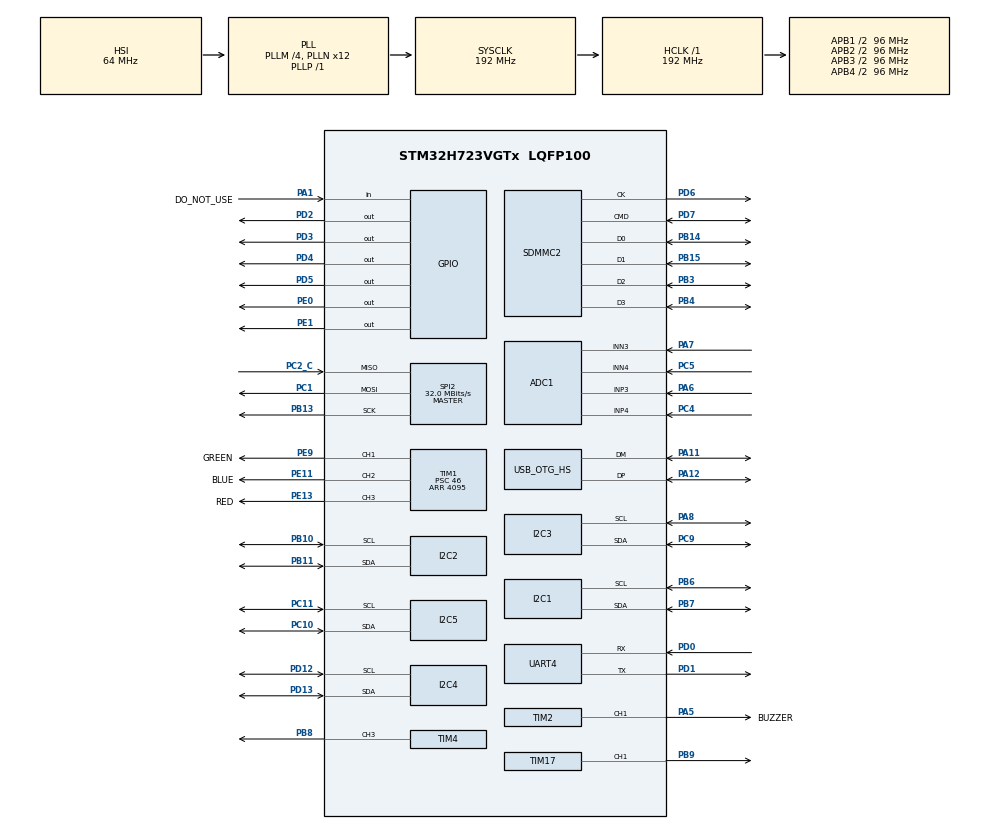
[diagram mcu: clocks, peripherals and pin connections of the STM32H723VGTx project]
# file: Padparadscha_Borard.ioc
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ADC1.Channel-0\#ChannelRegularConversion=ADC_CHANNEL_3
ADC1.NbrOfConversionFlag=1
ADC1.OffsetNumber-0\#ChannelRegularConversion=ADC_OFFSET_NONE
ADC1.OffsetSignedSaturation-0\#ChannelRegularConversion=DISABLE
ADC1.Rank-0\#ChannelRegularConversion=1
ADC1.SamplingTime-0\#ChannelRegularConversion=ADC_SAMPLETIME_1CYCLE_5
ADC1.SingleDiff-0\#ChannelRegularConversion=ADC_DIFFERENTIAL_ENDED
ADC1.master=1
FATFS.BSP.number=1
FATFS0.BSP.STBoard=false
FATFS0.BSP.api=Unknown
FATFS0.BSP.instance=PA1
FATFS0.BSP.ip=GPIO
FATFS0.BSP.mode=Input
FATFS0.BSP.name=Detect_SDIO
FATFS0.BSP.solution=PA1
I2C1.Timing=0x10B0DCFB
I2C2.Timing=0x10B0DCFB
I2C3.Timing=0x10B0DCFB
I2C4.Timing=0x10B0DCFB
I2C5.Timing=0x10B0DCFB
Mcu.Family=STM32H7
Mcu.Name=STM32H723VGTx
Mcu.Package=LQFP100
NVIC.OTG_HS_IRQn=true\:0\:0\:false\:false\:true\:false\:true\:true
NVIC.PriorityGroup=NVIC_PRIORITYGROUP_4
PA1.GPIO_Label=DO_NOT_USE
PA1.GPIO_PuPd=GPIO_PULLUP
PA1.Signal=GPIO_Input
PA11.Mode=Device_Only_FS
PA11.Signal=USB_OTG_HS_DM
PA12.Mode=Device_Only_FS
PA12.Signal=USB_OTG_HS_DP
PA13(JTMS/SWDIO).Mode=Serial_Wire
PA13(JTMS/SWDIO).Signal=DEBUG_JTMS-SWDIO
PA14(JTCK/SWCLK).Mode=Serial_Wire
PA14(JTCK/SWCLK).Signal=DEBUG_JTCK-SWCLK
PA5.GPIO_Label=BUZZER
PA5.Signal=S_TIM2_CH1_ETR
PA6.Signal=ADCx_INP3
PA7.Signal=ADCx_INN3
PA8.Mode=I2C
PA8.Signal=I2C3_SCL
PB10.Mode=I2C
PB10.Signal=I2C2_SCL
PB11.Mode=I2C
PB11.Signal=I2C2_SDA
PB13.Mode=Full_Duplex_Master
PB13.Signal=SPI2_SCK
PB14.Mode=SD_4_bits_Wide_bus
PB14.Signal=SDMMC2_D0
PB15.Mode=SD_4_bits_Wide_bus
PB15.Signal=SDMMC2_D1
PB3(JTDO/TRACESWO).Mode=SD_4_bits_Wide_bus
PB3(JTDO/TRACESWO).Signal=SDMMC2_D2
PB4(NJTRST).Mode=SD_4_bits_Wide_bus
PB4(NJTRST).Signal=SDMMC2_D3
PB6.Mode=I2C
PB6.Signal=I2C1_SCL
PB7.Mode=I2C
PB7.Signal=I2C1_SDA
PB8.Signal=S_TIM4_CH3
PB9.Signal=S_TIM17_CH1
PC1.Mode=Full_Duplex_Master
PC1.Signal=SPI2_MOSI
PC10.Mode=I2C
PC10.Signal=I2C5_SDA
PC11.Mode=I2C
PC11.Signal=I2C5_SCL
PC2_C.Mode=Full_Duplex_Master
PC2_C.Signal=SPI2_MISO
PC4.Signal=ADCx_INP4
PC5.Signal=ADCx_INN4
PC9.Mode=I2C
PC9.Signal=I2C3_SDA
PD0.Mode=Asynchronous
PD0.Signal=UART4_RX
PD1.Mode=Asynchronous
PD1.Signal=UART4_TX
PD12.Mode=I2C
PD12.Signal=I2C4_SCL
PD13.Mode=I2C
PD13.Signal=I2C4_SDA
PD2.Signal=GPIO_Output
PD3.Signal=GPIO_Output
PD4.Signal=GPIO_Output
PD5.Signal=GPIO_Output
PD6.Mode=SD_4_bits_Wide_bus
PD6.Signal=SDMMC2_CK
PD7.Mode=SD_4_bits_Wide_bus
PD7.Signal=SDMMC2_CMD
PE0.Signal=GPIO_Output
PE1.Signal=GPIO_Output
PE11.GPIO_Label=BLUE
PE11.Signal=S_TIM1_CH2
PE13.GPIO_Label=RED
PE13.Signal=S_TIM1_CH3
PE9.GPIO_Label=GREEN
PE9.Signal=S_TIM1_CH1
ProjectManager.HeapSize=0x200
ProjectManager.StackSize=0x400
ProjectManager.TargetToolchain=STM32CubeIDE
RCC.ADCFreq_Value=48000000
RCC.APB1Freq_Value=96000000
RCC.APB2Freq_Value=96000000
RCC.APB3Freq_Value=96000000
RCC.APB4Freq_Value=96000000
RCC.CortexFreq_Value=192000000
RCC.D1PPRE=RCC_APB3_DIV2
RCC.D2PPRE1=RCC_APB1_DIV2
RCC.D2PPRE2=RCC_APB2_DIV2
RCC.D3PPRE=RCC_APB4_DIV2
RCC.DIVM1=4
RCC.DIVM2=4
RCC.DIVN1=12
RCC.DIVN2=12
RCC.DIVP1=1
RCC.DIVP2=4
RCC.DIVQ1=4
RCC.DIVQ2=3
RCC.HCLKFreq_Value=192000000
RCC.PLL2FRACN=0
RCC.PLL2_VCO_SEL-AdvancedSettings=RCC_PLL2VCOMEDIUM
RCC.PLL3FRACN=0
RCC.PLL3_VCI_Range-AdvancedSettings=RCC_PLL3VCIRANGE_0
RCC.PLLFRACN=0
RCC.SPI123CLockSelection=RCC_SPI123CLKSOURCE_CLKP
RCC.SYSCLKFreq_VALUE=192000000
RCC.SYSCLKSource=RCC_SYSCLKSOURCE_PLLCLK
RCC.USART234578CLockSelection=RCC_USART234578CLKSOURCE_PLL2
RCC.USBCLockSelection=RCC_USBCLKSOURCE_HSI48
RCC.USBFreq_Value=48000000
SDMMC2.ClockDiv=4
SH.ADCx_INN3.0=ADC1_INN3,IN3-Differential
SH.ADCx_INN4.0=ADC1_INN4,IN4-Differential
SH.ADCx_INP3.0=ADC1_INP3,IN3-Differential
SH.ADCx_INP4.0=ADC1_INP4,IN4-Differential
SH.S_TIM17_CH1.0=TIM17_CH1,PWM Generation1 CH1
SH.S_TIM1_CH1.0=TIM1_CH1,PWM Generation1 CH1
SH.S_TIM1_CH2.0=TIM1_CH2,PWM Generation2 CH2
SH.S_TIM1_CH3.0=TIM1_CH3,PWM Generation3 CH3
SH.S_TIM2_CH1_ETR.0=TIM2_CH1,PWM Generation1 CH1
SH.S_TIM4_CH3.0=TIM4_CH3,PWM Generation3 CH3
SPI2.CalculateBaudRate=32.0 MBits/s
SPI2.Direction=SPI_DIRECTION_2LINES
SPI2.Mode=SPI_MODE_MASTER
SPI2.VirtualType=VM_MASTER
TIM1.AutoReloadPreload=TIM_AUTORELOAD_PRELOAD_ENABLE
TIM1.Channel-PWM\ Generation1\ CH1=TIM_CHANNEL_1
TIM1.Channel-PWM\ Generation2\ CH2=TIM_CHANNEL_2
TIM1.Channel-PWM\ Generation3\ CH3=TIM_CHANNEL_3
TIM1.Period=4095
TIM1.Prescaler=46
TIM17.Channel=TIM_CHANNEL_1
TIM2.Channel-PWM\ Generation1\ CH1=TIM_CHANNEL_1
TIM2.Period=1110
TIM2.Prescaler=63
TIM2.Pulse-PWM\ Generation1\ CH1=555
TIM4.Channel-PWM\ Generation3\ CH3=TIM_CHANNEL_3
USB_DEVICE.CLASS_NAME_HS=MSC
USB_DEVICE.VirtualMode=Msc
USB_DEVICE.VirtualModeHS=Msc_HS
USB_OTG_HS.VirtualMode-Device_Only_FS=Device_Only_FS
VP_FATFS_VS_SDIO.Mode=SDIO
VP_MEMORYMAP_VS_MEMORYMAP.Mode=CurAppReg
VP_TIM17_VS_ClockSourceINT.Mode=Enable_Timer
VP_USB_DEVICE_VS_USB_DEVICE_MSC_HS.Mode=MSC_HS
board=custom

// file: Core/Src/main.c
/* USER CODE BEGIN Header */
/**
  ******************************************************************************
  * @file           : main.c
  * @brief          : Main program body
  ******************************************************************************
  * @attention
  *
  * Copyright (c) 2026 STMicroelectronics.
  * All rights reserved.
  *
  * This software is licensed under terms that can be found in the LICENSE file
  * in the root directory of this software component.
  * If no LICENSE file comes with this software, it is provided AS-IS.
  *
  ******************************************************************************
  */
/* USER CODE END Header */
#include "main.h"
#include "fatfs.h"
#include "usb_device.h"

/* USER CODE BEGIN Includes */
#include <stdio.h>
#include <stdbool.h>
#include "configuration.h"
#include "debug_output.h"
#include "feedback.h"
#include "flight_logger.h"
#include "usbd_core.h"

extern bool USB_Mode;
extern USBD_HandleTypeDef hUsbDeviceHS;

/* USER CODE END Includes */

/* USER CODE BEGIN PTD */
typedef enum
{
  APP_MODE_USB = 0U,
  APP_MODE_LOGGING
} AppMode_t;

typedef enum
{
  APP_STATE_INIT = 0U,
  APP_STATE_READY,
  APP_STATE_ACQUIRE,
  APP_STATE_WARNING_STORAGE,
  APP_STATE_STOPPED,
  APP_STATE_ERROR
} AppState_t;

/* USER CODE END PTD */

/* USER CODE BEGIN PD */
#define USB_BOOT_ENUMERATION_TIMEOUT_MS 1000U
#define USB_BOOT_ENUMERATION_POLL_MS     10U

/* USER CODE END PD */

ADC_HandleTypeDef hadc1;

I2C_HandleTypeDef hi2c1;
I2C_HandleTypeDef hi2c2;
I2C_HandleTypeDef hi2c3;
I2C_HandleTypeDef hi2c4;
I2C_HandleTypeDef hi2c5;

SD_HandleTypeDef hsd2;

SPI_HandleTypeDef hspi2;

TIM_HandleTypeDef htim1;
TIM_HandleTypeDef htim2;
TIM_HandleTypeDef htim4;
TIM_HandleTypeDef htim17;

UART_HandleTypeDef huart4;

/* USER CODE BEGIN PV */
static bool usb_device_started = true;
static bool boot_usb_detected = false;
static AppMode_t app_mode = APP_MODE_USB;
static AppState_t app_state = APP_STATE_INIT;

/* USER CODE END PV */

void SystemClock_Config(void);
void PeriphCommonClock_Config(void);
static void MX_GPIO_Init(void);
static void MX_I2C1_Init(void);
static void MX_I2C2_Init(void);
static void MX_I2C4_Init(void);
static void MX_SDMMC2_SD_Init(void);
static void MX_I2C3_Init(void);
static void MX_TIM1_Init(void);
static void MX_TIM2_Init(void);
static void MX_ADC1_Init(void);
static void MX_I2C5_Init(void);
static void MX_SPI2_Init(void);
static void MX_TIM4_Init(void);
static void MX_TIM17_Init(void);
static void MX_UART4_Init(void);
/* USER CODE BEGIN PFP */
static void UpdateUsbModeState(void);
static bool IsUsbCableConnected(void);
static void UpdateAppStateFromLogger(void);

/* USER CODE END PFP */

int main(void)
{

  /* MCU Configuration--------------------------------------------------------*/

  /* Reset of all peripherals, Initializes the Flash interface and the Systick. */
  HAL_Init();

  /* Configure the system clock */
  SystemClock_Config();

  /* Configure the peripherals common clocks */
  PeriphCommonClock_Config();

  /* Initialize all configured peripherals */
  MX_GPIO_Init();
  MX_I2C1_Init();
  MX_I2C2_Init();
  MX_I2C4_Init();
  MX_SDMMC2_SD_Init();
  MX_I2C3_Init();
  MX_TIM1_Init();
  MX_TIM2_Init();
  MX_ADC1_Init();
  MX_I2C5_Init();
  MX_SPI2_Init();
  MX_TIM4_Init();
  MX_TIM17_Init();
  MX_UART4_Init();
  DebugOutput_Init();
  MX_FATFS_Init();
  MX_USB_DEVICE_Init();
  /* USER CODE BEGIN 2 */
  printf("[BOOT] System init complete. Debug interface=%s\r\n",
         (DEBUG_PRINT_INTERFACE == DEBUG_PRINT_INTERFACE_UART4) ? "UART4" : "SWV");
  HAL_Delay(LOGGER_USB_BOOT_SETTLE_DELAY_MS);
  boot_usb_detected = IsUsbCableConnected();
  UpdateUsbModeState();
  printf("[BOOT] USB detected at boot=%u\r\n", (unsigned int)boot_usb_detected);

  if (boot_usb_detected != false)
  {
    app_mode = APP_MODE_USB;
    app_state = APP_STATE_READY;
    printf("[BOOT] Entering USB mass-storage mode.\r\n");
  }
  else
  {
    app_mode = APP_MODE_LOGGING;
    printf("[BOOT] Entering flight logger mode.\r\n");
    if (FlightLogger_Init() != false)
    {
      UpdateAppStateFromLogger();
      printf("[BOOT] Flight logger initialized successfully.\r\n");
    }
    else
    {
      app_state = APP_STATE_ERROR;
      printf("[BOOT] Flight logger initialization failed.\r\n");
    }
  }

  /* USER CODE END 2 */

  /* Infinite loop */
  while (1)
  {

    /* USER CODE BEGIN 3 */
    if (app_mode == APP_MODE_LOGGING)
    {
      FlightLogger_RunOnce();
      UpdateAppStateFromLogger();
    }

    switch (app_state)
    {
      case APP_STATE_INIT:
      case APP_STATE_READY:
      case APP_STATE_ACQUIRE:
      case APP_STATE_WARNING_STORAGE:
      case APP_STATE_STOPPED:
      case APP_STATE_ERROR:
      default:
        break;
    }
  }
  /* USER CODE END 3 */
}

void SystemClock_Config(void)
{
  RCC_OscInitTypeDef RCC_OscInitStruct = {0};
  RCC_ClkInitTypeDef RCC_ClkInitStruct = {0};

  /** Supply configuration update enable
  */
  HAL_PWREx_ConfigSupply(PWR_LDO_SUPPLY);

  /** Configure the main internal regulator output voltage
  */
  __HAL_PWR_VOLTAGESCALING_CONFIG(PWR_REGULATOR_VOLTAGE_SCALE1);

  while(!__HAL_PWR_GET_FLAG(PWR_FLAG_VOSRDY)) {}

  /** Initializes the RCC Oscillators according to the specified parameters
  * in the RCC_OscInitTypeDef structure.
  */
  RCC_OscInitStruct.OscillatorType = RCC_OSCILLATORTYPE_HSI48|RCC_OSCILLATORTYPE_HSI;
  RCC_OscInitStruct.HSIState = RCC_HSI_DIV1;
  RCC_OscInitStruct.HSICalibrationValue = 64;
  RCC_OscInitStruct.HSI48State = RCC_HSI48_ON;
  RCC_OscInitStruct.PLL.PLLState = RCC_PLL_ON;
  RCC_OscInitStruct.PLL.PLLSource = RCC_PLLSOURCE_HSI;
  RCC_OscInitStruct.PLL.PLLM = 4;
  RCC_OscInitStruct.PLL.PLLN = 12;
  RCC_OscInitStruct.PLL.PLLP = 1;
  RCC_OscInitStruct.PLL.PLLQ = 4;
  RCC_OscInitStruct.PLL.PLLR = 2;
  RCC_OscInitStruct.PLL.PLLRGE = RCC_PLL1VCIRANGE_3;
  RCC_OscInitStruct.PLL.PLLVCOSEL = RCC_PLL1VCOWIDE;
  RCC_OscInitStruct.PLL.PLLFRACN = 0;
  if (HAL_RCC_OscConfig(&RCC_OscInitStruct) != HAL_OK)
  {
    Error_Handler();
  }

  /** Initializes the CPU, AHB and APB buses clocks
  */
  RCC_ClkInitStruct.ClockType = RCC_CLOCKTYPE_HCLK|RCC_CLOCKTYPE_SYSCLK
                              |RCC_CLOCKTYPE_PCLK1|RCC_CLOCKTYPE_PCLK2
                              |RCC_CLOCKTYPE_D3PCLK1|RCC_CLOCKTYPE_D1PCLK1;
  RCC_ClkInitStruct.SYSCLKSource = RCC_SYSCLKSOURCE_PLLCLK;
  RCC_ClkInitStruct.SYSCLKDivider = RCC_SYSCLK_DIV1;
  RCC_ClkInitStruct.AHBCLKDivider = RCC_HCLK_DIV1;
  RCC_ClkInitStruct.APB3CLKDivider = RCC_APB3_DIV2;
  RCC_ClkInitStruct.APB1CLKDivider = RCC_APB1_DIV2;
  RCC_ClkInitStruct.APB2CLKDivider = RCC_APB2_DIV2;
  RCC_ClkInitStruct.APB4CLKDivider = RCC_APB4_DIV2;

  if (HAL_RCC_ClockConfig(&RCC_ClkInitStruct, FLASH_LATENCY_2) != HAL_OK)
  {
    Error_Handler();
  }
}

void PeriphCommonClock_Config(void)
{
  RCC_PeriphCLKInitTypeDef PeriphClkInitStruct = {0};

  /** Initializes the peripherals clock
  */
  PeriphClkInitStruct.PeriphClockSelection = RCC_PERIPHCLK_ADC|RCC_PERIPHCLK_UART4
                              |RCC_PERIPHCLK_CKPER;
  PeriphClkInitStruct.PLL2.PLL2M = 4;
  PeriphClkInitStruct.PLL2.PLL2N = 12;
  PeriphClkInitStruct.PLL2.PLL2P = 4;
  PeriphClkInitStruct.PLL2.PLL2Q = 3;
  PeriphClkInitStruct.PLL2.PLL2R = 2;
  PeriphClkInitStruct.PLL2.PLL2RGE = RCC_PLL2VCIRANGE_3;
  PeriphClkInitStruct.PLL2.PLL2VCOSEL = RCC_PLL2VCOWIDE;
  PeriphClkInitStruct.PLL2.PLL2FRACN = 0;
  PeriphClkInitStruct.CkperClockSelection = RCC_CLKPSOURCE_HSI;
  PeriphClkInitStruct.Usart234578ClockSelection = RCC_USART234578CLKSOURCE_PLL2;
  PeriphClkInitStruct.AdcClockSelection = RCC_ADCCLKSOURCE_PLL2;
  if (HAL_RCCEx_PeriphCLKConfig(&PeriphClkInitStruct) != HAL_OK)
  {
    Error_Handler();
  }
}

static void MX_ADC1_Init(void)
{

  ADC_MultiModeTypeDef multimode = {0};
  ADC_ChannelConfTypeDef sConfig = {0};

  /** Common config
  */
  hadc1.Instance = ADC1;
  hadc1.Init.ClockPrescaler = ADC_CLOCK_ASYNC_DIV1;
  hadc1.Init.Resolution = ADC_RESOLUTION_16B;
  hadc1.Init.ScanConvMode = ADC_SCAN_DISABLE;
  hadc1.Init.EOCSelection = ADC_EOC_SINGLE_CONV;
  hadc1.Init.LowPowerAutoWait = DISABLE;
  hadc1.Init.ContinuousConvMode = DISABLE;
  hadc1.Init.NbrOfConversion = 1;
  hadc1.Init.DiscontinuousConvMode = DISABLE;
  hadc1.Init.ExternalTrigConv = ADC_SOFTWARE_START;
  hadc1.Init.ExternalTrigConvEdge = ADC_EXTERNALTRIGCONVEDGE_NONE;
  hadc1.Init.ConversionDataManagement = ADC_CONVERSIONDATA_DR;
  hadc1.Init.Overrun = ADC_OVR_DATA_PRESERVED;
  hadc1.Init.LeftBitShift = ADC_LEFTBITSHIFT_NONE;
  hadc1.Init.OversamplingMode = DISABLE;
  hadc1.Init.Oversampling.Ratio = 1;
  if (HAL_ADC_Init(&hadc1) != HAL_OK)
  {
    Error_Handler();
  }

  /** Configure the ADC multi-mode
  */
  multimode.Mode = ADC_MODE_INDEPENDENT;
  if (HAL_ADCEx_MultiModeConfigChannel(&hadc1, &multimode) != HAL_OK)
  {
    Error_Handler();
  }

  /** Configure Regular Channel
  */
  sConfig.Channel = ADC_CHANNEL_3;
  sConfig.Rank = ADC_REGULAR_RANK_1;
  sConfig.SamplingTime = ADC_SAMPLETIME_1CYCLE_5;
  sConfig.SingleDiff = ADC_DIFFERENTIAL_ENDED;
  sConfig.OffsetNumber = ADC_OFFSET_NONE;
  sConfig.Offset = 0;
  sConfig.OffsetSignedSaturation = DISABLE;
  if (HAL_ADC_ConfigChannel(&hadc1, &sConfig) != HAL_OK)
  {
    Error_Handler();
  }

}

static void MX_I2C1_Init(void)
{

  hi2c1.Instance = I2C1;
  hi2c1.Init.Timing = 0x10B0DCFB;
  hi2c1.Init.OwnAddress1 = 0;
  hi2c1.Init.AddressingMode = I2C_ADDRESSINGMODE_7BIT;
  hi2c1.Init.DualAddressMode = I2C_DUALADDRESS_DISABLE;
  hi2c1.Init.OwnAddress2 = 0;
  hi2c1.Init.OwnAddress2Masks = I2C_OA2_NOMASK;
  hi2c1.Init.GeneralCallMode = I2C_GENERALCALL_DISABLE;
  hi2c1.Init.NoStretchMode = I2C_NOSTRETCH_DISABLE;
  if (HAL_I2C_Init(&hi2c1) != HAL_OK)
  {
    Error_Handler();
  }

  /** Configure Analogue filter
  */
  if (HAL_I2CEx_ConfigAnalogFilter(&hi2c1, I2C_ANALOGFILTER_ENABLE) != HAL_OK)
  {
    Error_Handler();
  }

  /** Configure Digital filter
  */
  if (HAL_I2CEx_ConfigDigitalFilter(&hi2c1, 0) != HAL_OK)
  {
    Error_Handler();
  }

}

static void MX_I2C2_Init(void)
{

  hi2c2.Instance = I2C2;
  hi2c2.Init.Timing = 0x10B0DCFB;
  hi2c2.Init.OwnAddress1 = 0;
  hi2c2.Init.AddressingMode = I2C_ADDRESSINGMODE_7BIT;
  hi2c2.Init.DualAddressMode = I2C_DUALADDRESS_DISABLE;
  hi2c2.Init.OwnAddress2 = 0;
  hi2c2.Init.OwnAddress2Masks = I2C_OA2_NOMASK;
  hi2c2.Init.GeneralCallMode = I2C_GENERALCALL_DISABLE;
  hi2c2.Init.NoStretchMode = I2C_NOSTRETCH_DISABLE;
  if (HAL_I2C_Init(&hi2c2) != HAL_OK)
  {
    Error_Handler();
  }

  /** Configure Analogue filter
  */
  if (HAL_I2CEx_ConfigAnalogFilter(&hi2c2, I2C_ANALOGFILTER_ENABLE) != HAL_OK)
  {
    Error_Handler();
  }

  /** Configure Digital filter
  */
  if (HAL_I2CEx_ConfigDigitalFilter(&hi2c2, 0) != HAL_OK)
  {
    Error_Handler();
  }

}

static void MX_I2C3_Init(void)
{

  hi2c3.Instance = I2C3;
  hi2c3.Init.Timing = 0x10B0DCFB;
  hi2c3.Init.OwnAddress1 = 0;
  hi2c3.Init.AddressingMode = I2C_ADDRESSINGMODE_7BIT;
  hi2c3.Init.DualAddressMode = I2C_DUALADDRESS_DISABLE;
  hi2c3.Init.OwnAddress2 = 0;
  hi2c3.Init.OwnAddress2Masks = I2C_OA2_NOMASK;
  hi2c3.Init.GeneralCallMode = I2C_GENERALCALL_DISABLE;
  hi2c3.Init.NoStretchMode = I2C_NOSTRETCH_DISABLE;
  if (HAL_I2C_Init(&hi2c3) != HAL_OK)
  {
    Error_Handler();
  }

  /** Configure Analogue filter
  */
  if (HAL_I2CEx_ConfigAnalogFilter(&hi2c3, I2C_ANALOGFILTER_ENABLE) != HAL_OK)
  {
    Error_Handler();
  }

  /** Configure Digital filter
  */
  if (HAL_I2CEx_ConfigDigitalFilter(&hi2c3, 0) != HAL_OK)
  {
    Error_Handler();
  }

}

static void MX_I2C4_Init(void)
{

  hi2c4.Instance = I2C4;
  hi2c4.Init.Timing = 0x10B0DCFB;
  hi2c4.Init.OwnAddress1 = 0;
  hi2c4.Init.AddressingMode = I2C_ADDRESSINGMODE_7BIT;
  hi2c4.Init.DualAddressMode = I2C_DUALADDRESS_DISABLE;
  hi2c4.Init.OwnAddress2 = 0;
  hi2c4.Init.OwnAddress2Masks = I2C_OA2_NOMASK;
  hi2c4.Init.GeneralCallMode = I2C_GENERALCALL_DISABLE;
  hi2c4.Init.NoStretchMode = I2C_NOSTRETCH_DISABLE;
  if (HAL_I2C_Init(&hi2c4) != HAL_OK)
  {
    Error_Handler();
  }

  /** Configure Analogue filter
  */
  if (HAL_I2CEx_ConfigAnalogFilter(&hi2c4, I2C_ANALOGFILTER_ENABLE) != HAL_OK)
  {
    Error_Handler();
  }

  /** Configure Digital filter
  */
  if (HAL_I2CEx_ConfigDigitalFilter(&hi2c4, 0) != HAL_OK)
  {
    Error_Handler();
  }

}

static void MX_I2C5_Init(void)
{

  hi2c5.Instance = I2C5;
  hi2c5.Init.Timing = 0x10B0DCFB;
  hi2c5.Init.OwnAddress1 = 0;
  hi2c5.Init.AddressingMode = I2C_ADDRESSINGMODE_7BIT;
  hi2c5.Init.DualAddressMode = I2C_DUALADDRESS_DISABLE;
  hi2c5.Init.OwnAddress2 = 0;
  hi2c5.Init.OwnAddress2Masks = I2C_OA2_NOMASK;
  hi2c5.Init.GeneralCallMode = I2C_GENERALCALL_DISABLE;
  hi2c5.Init.NoStretchMode = I2C_NOSTRETCH_DISABLE;
  if (HAL_I2C_Init(&hi2c5) != HAL_OK)
  {
    Error_Handler();
  }

  /** Configure Analogue filter
  */
  if (HAL_I2CEx_ConfigAnalogFilter(&hi2c5, I2C_ANALOGFILTER_ENABLE) != HAL_OK)
  {
    Error_Handler();
  }

  /** Configure Digital filter
  */
  if (HAL_I2CEx_ConfigDigitalFilter(&hi2c5, 0) != HAL_OK)
  {
    Error_Handler();
  }

}

static void MX_SDMMC2_SD_Init(void)
{

  hsd2.Instance = SDMMC2;
  hsd2.Init.ClockEdge = SDMMC_CLOCK_EDGE_RISING;
  hsd2.Init.ClockPowerSave = SDMMC_CLOCK_POWER_SAVE_DISABLE;
  hsd2.Init.BusWide = SDMMC_BUS_WIDE_4B;
  hsd2.Init.HardwareFlowControl = SDMMC_HARDWARE_FLOW_CONTROL_DISABLE;
  hsd2.Init.ClockDiv = 4;
  if (HAL_SD_Init(&hsd2) != HAL_OK)
  {
    Error_Handler();
  }

}

static void MX_SPI2_Init(void)
{

  /* SPI2 parameter configuration*/
  hspi2.Instance = SPI2;
  hspi2.Init.Mode = SPI_MODE_MASTER;
  hspi2.Init.Direction = SPI_DIRECTION_2LINES;
  hspi2.Init.DataSize = SPI_DATASIZE_4BIT;
  hspi2.Init.CLKPolarity = SPI_POLARITY_LOW;
  hspi2.Init.CLKPhase = SPI_PHASE_1EDGE;
  hspi2.Init.NSS = SPI_NSS_SOFT;
  hspi2.Init.BaudRatePrescaler = SPI_BAUDRATEPRESCALER_2;
  hspi2.Init.FirstBit = SPI_FIRSTBIT_MSB;
  hspi2.Init.TIMode = SPI_TIMODE_DISABLE;
  hspi2.Init.CRCCalculation = SPI_CRCCALCULATION_DISABLE;
  hspi2.Init.CRCPolynomial = 0x0;
  hspi2.Init.NSSPMode = SPI_NSS_PULSE_ENABLE;
  hspi2.Init.NSSPolarity = SPI_NSS_POLARITY_LOW;
  hspi2.Init.FifoThreshold = SPI_FIFO_THRESHOLD_01DATA;
  hspi2.Init.TxCRCInitializationPattern = SPI_CRC_INITIALIZATION_ALL_ZERO_PATTERN;
  hspi2.Init.RxCRCInitializationPattern = SPI_CRC_INITIALIZATION_ALL_ZERO_PATTERN;
  hspi2.Init.MasterSSIdleness = SPI_MASTER_SS_IDLENESS_00CYCLE;
  hspi2.Init.MasterInterDataIdleness = SPI_MASTER_INTERDATA_IDLENESS_00CYCLE;
  hspi2.Init.MasterReceiverAutoSusp = SPI_MASTER_RX_AUTOSUSP_DISABLE;
  hspi2.Init.MasterKeepIOState = SPI_MASTER_KEEP_IO_STATE_DISABLE;
  hspi2.Init.IOSwap = SPI_IO_SWAP_DISABLE;
  if (HAL_SPI_Init(&hspi2) != HAL_OK)
  {
    Error_Handler();
  }

}

static void MX_TIM1_Init(void)
{

  TIM_MasterConfigTypeDef sMasterConfig = {0};
  TIM_OC_InitTypeDef sConfigOC = {0};
  TIM_BreakDeadTimeConfigTypeDef sBreakDeadTimeConfig = {0};

  htim1.Instance = TIM1;
  htim1.Init.Prescaler = 46;
  htim1.Init.CounterMode = TIM_COUNTERMODE_UP;
  htim1.Init.Period = 4095;
  htim1.Init.ClockDivision = TIM_CLOCKDIVISION_DIV1;
  htim1.Init.RepetitionCounter = 0;
  htim1.Init.AutoReloadPreload = TIM_AUTORELOAD_PRELOAD_ENABLE;
  if (HAL_TIM_PWM_Init(&htim1) != HAL_OK)
  {
    Error_Handler();
  }
  sMasterConfig.MasterOutputTrigger = TIM_TRGO_RESET;
  sMasterConfig.MasterOutputTrigger2 = TIM_TRGO2_RESET;
  sMasterConfig.MasterSlaveMode = TIM_MASTERSLAVEMODE_DISABLE;
  if (HAL_TIMEx_MasterConfigSynchronization(&htim1, &sMasterConfig) != HAL_OK)
  {
    Error_Handler();
  }
  sConfigOC.OCMode = TIM_OCMODE_PWM1;
  sConfigOC.Pulse = 0;
  sConfigOC.OCPolarity = TIM_OCPOLARITY_HIGH;
  sConfigOC.OCNPolarity = TIM_OCNPOLARITY_HIGH;
  sConfigOC.OCFastMode = TIM_OCFAST_DISABLE;
  sConfigOC.OCIdleState = TIM_OCIDLESTATE_RESET;
  sConfigOC.OCNIdleState = TIM_OCNIDLESTATE_RESET;
  if (HAL_TIM_PWM_ConfigChannel(&htim1, &sConfigOC, TIM_CHANNEL_1) != HAL_OK)
  {
    Error_Handler();
  }
  if (HAL_TIM_PWM_ConfigChannel(&htim1, &sConfigOC, TIM_CHANNEL_2) != HAL_OK)
  {
    Error_Handler();
  }
  if (HAL_TIM_PWM_ConfigChannel(&htim1, &sConfigOC, TIM_CHANNEL_3) != HAL_OK)
  {
    Error_Handler();
  }
  sBreakDeadTimeConfig.OffStateRunMode = TIM_OSSR_DISABLE;
  sBreakDeadTimeConfig.OffStateIDLEMode = TIM_OSSI_DISABLE;
  sBreakDeadTimeConfig.LockLevel = TIM_LOCKLEVEL_OFF;
  sBreakDeadTimeConfig.DeadTime = 0;
  sBreakDeadTimeConfig.BreakState = TIM_BREAK_DISABLE;
  sBreakDeadTimeConfig.BreakPolarity = TIM_BREAKPOLARITY_HIGH;
  sBreakDeadTimeConfig.BreakFilter = 0;
  sBreakDeadTimeConfig.Break2State = TIM_BREAK2_DISABLE;
  sBreakDeadTimeConfig.Break2Polarity = TIM_BREAK2POLARITY_HIGH;
  sBreakDeadTimeConfig.Break2Filter = 0;
  sBreakDeadTimeConfig.AutomaticOutput = TIM_AUTOMATICOUTPUT_DISABLE;
  if (HAL_TIMEx_ConfigBreakDeadTime(&htim1, &sBreakDeadTimeConfig) != HAL_OK)
  {
    Error_Handler();
  }
  HAL_TIM_MspPostInit(&htim1);

}

static void MX_TIM2_Init(void)
{

  TIM_MasterConfigTypeDef sMasterConfig = {0};
  TIM_OC_InitTypeDef sConfigOC = {0};

  htim2.Instance = TIM2;
  htim2.Init.Prescaler = 63;
  htim2.Init.CounterMode = TIM_COUNTERMODE_UP;
  htim2.Init.Period = 1110;
  htim2.Init.ClockDivision = TIM_CLOCKDIVISION_DIV1;
  htim2.Init.AutoReloadPreload = TIM_AUTORELOAD_PRELOAD_DISABLE;
  if (HAL_TIM_PWM_Init(&htim2) != HAL_OK)
  {
    Error_Handler();
  }
  sMasterConfig.MasterOutputTrigger = TIM_TRGO_RESET;
  sMasterConfig.MasterSlaveMode = TIM_MASTERSLAVEMODE_DISABLE;
  if (HAL_TIMEx_MasterConfigSynchronization(&htim2, &sMasterConfig) != HAL_OK)
  {
    Error_Handler();
  }
  sConfigOC.OCMode = TIM_OCMODE_PWM1;
  sConfigOC.Pulse = 555;
  sConfigOC.OCPolarity = TIM_OCPOLARITY_HIGH;
  sConfigOC.OCFastMode = TIM_OCFAST_DISABLE;
  if (HAL_TIM_PWM_ConfigChannel(&htim2, &sConfigOC, TIM_CHANNEL_1) != HAL_OK)
  {
    Error_Handler();
  }
  HAL_TIM_MspPostInit(&htim2);

}

static void MX_TIM4_Init(void)
{

  TIM_MasterConfigTypeDef sMasterConfig = {0};
  TIM_OC_InitTypeDef sConfigOC = {0};

  htim4.Instance = TIM4;
  htim4.Init.Prescaler = 0;
  htim4.Init.CounterMode = TIM_COUNTERMODE_UP;
  htim4.Init.Period = 65535;
  htim4.Init.ClockDivision = TIM_CLOCKDIVISION_DIV1;
  htim4.Init.AutoReloadPreload = TIM_AUTORELOAD_PRELOAD_DISABLE;
  if (HAL_TIM_PWM_Init(&htim4) != HAL_OK)
  {
    Error_Handler();
  }
  sMasterConfig.MasterOutputTrigger = TIM_TRGO_RESET;
  sMasterConfig.MasterSlaveMode = TIM_MASTERSLAVEMODE_DISABLE;
  if (HAL_TIMEx_MasterConfigSynchronization(&htim4, &sMasterConfig) != HAL_OK)
  {
    Error_Handler();
  }
  sConfigOC.OCMode = TIM_OCMODE_PWM1;
  sConfigOC.Pulse = 0;
  sConfigOC.OCPolarity = TIM_OCPOLARITY_HIGH;
  sConfigOC.OCFastMode = TIM_OCFAST_DISABLE;
  if (HAL_TIM_PWM_ConfigChannel(&htim4, &sConfigOC, TIM_CHANNEL_3) != HAL_OK)
  {
    Error_Handler();
  }
  HAL_TIM_MspPostInit(&htim4);

}

static void MX_TIM17_Init(void)
{

  TIM_OC_InitTypeDef sConfigOC = {0};
  TIM_BreakDeadTimeConfigTypeDef sBreakDeadTimeConfig = {0};

  htim17.Instance = TIM17;
  htim17.Init.Prescaler = 0;
  htim17.Init.CounterMode = TIM_COUNTERMODE_UP;
  htim17.Init.Period = 65535;
  htim17.Init.ClockDivision = TIM_CLOCKDIVISION_DIV1;
  htim17.Init.RepetitionCounter = 0;
  htim17.Init.AutoReloadPreload = TIM_AUTORELOAD_PRELOAD_DISABLE;
  if (HAL_TIM_Base_Init(&htim17) != HAL_OK)
  {
    Error_Handler();
  }
  if (HAL_TIM_PWM_Init(&htim17) != HAL_OK)
  {
    Error_Handler();
  }
  sConfigOC.OCMode = TIM_OCMODE_PWM1;
  sConfigOC.Pulse = 0;
  sConfigOC.OCPolarity = TIM_OCPOLARITY_HIGH;
  sConfigOC.OCNPolarity = TIM_OCNPOLARITY_HIGH;
  sConfigOC.OCFastMode = TIM_OCFAST_DISABLE;
  sConfigOC.OCIdleState = TIM_OCIDLESTATE_RESET;
  sConfigOC.OCNIdleState = TIM_OCNIDLESTATE_RESET;
  if (HAL_TIM_PWM_ConfigChannel(&htim17, &sConfigOC, TIM_CHANNEL_1) != HAL_OK)
  {
    Error_Handler();
  }
  sBreakDeadTimeConfig.OffStateRunMode = TIM_OSSR_DISABLE;
  sBreakDeadTimeConfig.OffStateIDLEMode = TIM_OSSI_DISABLE;
  sBreakDeadTimeConfig.LockLevel = TIM_LOCKLEVEL_OFF;
  sBreakDeadTimeConfig.DeadTime = 0;
  sBreakDeadTimeConfig.BreakState = TIM_BREAK_DISABLE;
  sBreakDeadTimeConfig.BreakPolarity = TIM_BREAKPOLARITY_HIGH;
  sBreakDeadTimeConfig.BreakFilter = 0;
  sBreakDeadTimeConfig.AutomaticOutput = TIM_AUTOMATICOUTPUT_DISABLE;
  if (HAL_TIMEx_ConfigBreakDeadTime(&htim17, &sBreakDeadTimeConfig) != HAL_OK)
  {
    Error_Handler();
  }
  HAL_TIM_MspPostInit(&htim17);

}

static void MX_UART4_Init(void)
{

  huart4.Instance = UART4;
  huart4.Init.BaudRate = 115200;
  huart4.Init.WordLength = UART_WORDLENGTH_8B;
  huart4.Init.StopBits = UART_STOPBITS_1;
  huart4.Init.Parity = UART_PARITY_NONE;
  huart4.Init.Mode = UART_MODE_TX_RX;
  huart4.Init.HwFlowCtl = UART_HWCONTROL_NONE;
  huart4.Init.OverSampling = UART_OVERSAMPLING_16;
  huart4.Init.OneBitSampling = UART_ONE_BIT_SAMPLE_DISABLE;
  huart4.Init.ClockPrescaler = UART_PRESCALER_DIV1;
  huart4.AdvancedInit.AdvFeatureInit = UART_ADVFEATURE_NO_INIT;
  if (HAL_UART_Init(&huart4) != HAL_OK)
  {
    Error_Handler();
  }
  if (HAL_UARTEx_SetTxFifoThreshold(&huart4, UART_TXFIFO_THRESHOLD_1_8) != HAL_OK)
  {
    Error_Handler();
  }
  if (HAL_UARTEx_SetRxFifoThreshold(&huart4, UART_RXFIFO_THRESHOLD_1_8) != HAL_OK)
  {
    Error_Handler();
  }
  if (HAL_UARTEx_DisableFifoMode(&huart4) != HAL_OK)
  {
    Error_Handler();
  }

}

static void MX_GPIO_Init(void)
{
  GPIO_InitTypeDef GPIO_InitStruct = {0};

  /* GPIO Ports Clock Enable */
  __HAL_RCC_GPIOC_CLK_ENABLE();
  __HAL_RCC_GPIOA_CLK_ENABLE();
  __HAL_RCC_GPIOE_CLK_ENABLE();
  __HAL_RCC_GPIOB_CLK_ENABLE();
  __HAL_RCC_GPIOD_CLK_ENABLE();

  /*Configure GPIO pin Output Level */
  HAL_GPIO_WritePin(GPIOD, GPIO_PIN_2|GPIO_PIN_3|GPIO_PIN_4|GPIO_PIN_5, GPIO_PIN_RESET);

  /*Configure GPIO pin Output Level */
  HAL_GPIO_WritePin(GPIOE, GPIO_PIN_0|GPIO_PIN_1, GPIO_PIN_RESET);

  /*Configure GPIO pin : DO_NOT_USE_Pin */
  GPIO_InitStruct.Pin = DO_NOT_USE_Pin;
  GPIO_InitStruct.Mode = GPIO_MODE_INPUT;
  GPIO_InitStruct.Pull = GPIO_PULLUP;
  HAL_GPIO_Init(DO_NOT_USE_GPIO_Port, &GPIO_InitStruct);

  /*Configure GPIO pins : PD2 PD3 PD4 PD5 */
  GPIO_InitStruct.Pin = GPIO_PIN_2|GPIO_PIN_3|GPIO_PIN_4|GPIO_PIN_5;
  GPIO_InitStruct.Mode = GPIO_MODE_OUTPUT_PP;
  GPIO_InitStruct.Pull = GPIO_NOPULL;
  GPIO_InitStruct.Speed = GPIO_SPEED_FREQ_LOW;
  HAL_GPIO_Init(GPIOD, &GPIO_InitStruct);

  /*Configure GPIO pins : PE0 PE1 */
  GPIO_InitStruct.Pin = GPIO_PIN_0|GPIO_PIN_1;
  GPIO_InitStruct.Mode = GPIO_MODE_OUTPUT_PP;
  GPIO_InitStruct.Pull = GPIO_NOPULL;
  GPIO_InitStruct.Speed = GPIO_SPEED_FREQ_LOW;
  HAL_GPIO_Init(GPIOE, &GPIO_InitStruct);

}

/* USER CODE BEGIN 4 */
static bool IsUsbCableConnected(void)
{
  uint32_t start_tick = HAL_GetTick();

  while ((HAL_GetTick() - start_tick) < USB_BOOT_ENUMERATION_TIMEOUT_MS)
  {
    uint8_t dev_state = hUsbDeviceHS.dev_state;

    if ((dev_state == USBD_STATE_ADDRESSED) ||
        (dev_state == USBD_STATE_CONFIGURED) ||
        (dev_state == USBD_STATE_SUSPENDED))
    {
      printf("[BOOT] USB host activity detected, device state=%u\r\n",
             (unsigned int)dev_state);
      return true;
    }

    HAL_Delay(USB_BOOT_ENUMERATION_POLL_MS);
  }

  printf("[BOOT] No USB host enumeration detected, final device state=%u\r\n",
         (unsigned int)hUsbDeviceHS.dev_state);
  return false;
}

static void UpdateUsbModeState(void)
{
  bool cable_connected = boot_usb_detected;

  USB_Mode = cable_connected;

  if (cable_connected && !usb_device_started)
  {
    if (USBD_Start(&hUsbDeviceHS) == USBD_OK)
    {
      usb_device_started = true;
    }
  }
  else if (!cable_connected && usb_device_started)
  {
    if (USBD_Stop(&hUsbDeviceHS) == USBD_OK)
    {
      usb_device_started = false;
    }
  }
}

static void UpdateAppStateFromLogger(void)
{
  switch (FlightLogger_GetState())
  {
    case FLIGHT_LOGGER_STATE_READY:
      app_state = APP_STATE_READY;
      break;

    case FLIGHT_LOGGER_STATE_ACQUIRE:
      app_state = APP_STATE_ACQUIRE;
      break;

    case FLIGHT_LOGGER_STATE_WARNING_STORAGE:
      app_state = APP_STATE_WARNING_STORAGE;
      break;

    case FLIGHT_LOGGER_STATE_STOPPED:
      app_state = APP_STATE_STOPPED;
      break;

    case FLIGHT_LOGGER_STATE_ERROR:
      app_state = APP_STATE_ERROR;
      break;

    case FLIGHT_LOGGER_STATE_INIT:
    default:
      app_state = APP_STATE_INIT;
      break;
  }
}

/* USER CODE END 4 */

void Error_Handler(void)
{
  __disable_irq();
  while (1)
  {
  }
}
